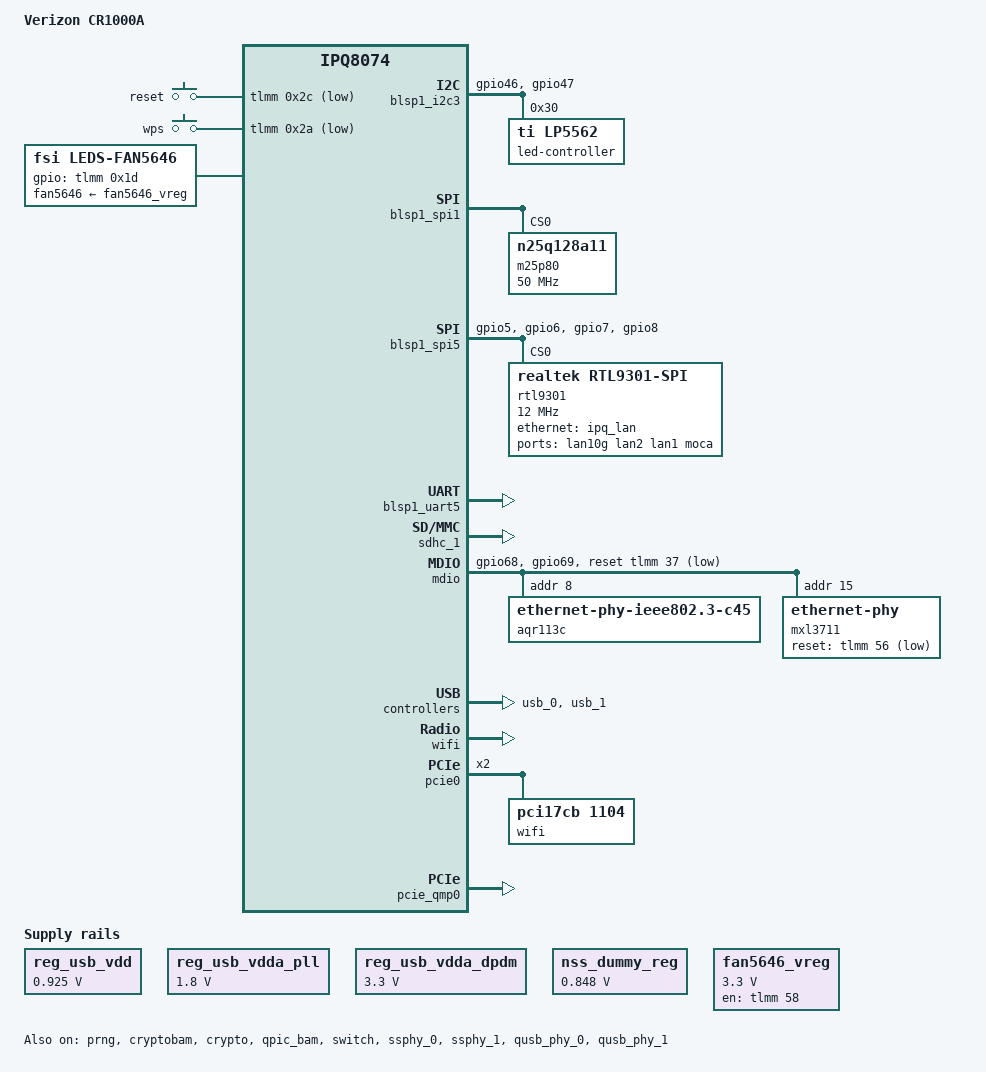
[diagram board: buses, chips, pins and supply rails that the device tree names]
/dts-v1/;

/*
 * Verizon CR1000A — full profile.
 *
 * IPQ8072 SoC with both ath11k radios (2.4/5 GHz on-SoC + 6 GHz QCN9074 over
 * PCIe), the IPQ-side AQR113C 10G "WAN" RJ45 (ESS port 6), and an SPI-attached RTL9303
 * switch (ESS port 5, 10GBase-R CPU link) that fans out the four LAN ports plus the
 * MXL3711 MoCA 2.5G link:
 *
 *   ESS port 6 -> AQR113C            : 10G "WAN" RJ45                 (label "wan")
 *   ESS port 5 -> RTL9303 port 27    : 10GBase-R CPU uplink to switch (label "lan")
 *     RTL9303 port 8  -> AQR113C #2  : 10G LAN RJ45            (label "lan10g")
 *     RTL9303 port 20 -> RTL8221B    : 2.5G LAN, casing "LAN2" (label "lan2")
 *     RTL9303 port 24 -> RTL8221B    : 2.5G LAN, casing "LAN1" (label "lan1")
 *     RTL9303 port 25 -> MXL3711     : MoCA 2.5G (HSGMII)      (label "moca")
 *
 * The RTL9303 (kmod-rtl930x-spi DSA driver) and the MXL3711 MoCA PHY
 * (kmod-phy-mxl371x) are out-of-tree; the front-panel LEDs use the in-tree
 * leds-fan5646 (1-wire white) and leds-cr1000a-rgb (i2c 0x30) drivers.
 */

#include "ipq8074.dtsi"
#include "ipq8074-hk-cpu.dtsi"
#include "ipq8074-ess.dtsi"
#include "pmp8074.dtsi"	/* pmp8074 PMIC on &spmi_bus: defines the s4 (vdd_s4) rail */

#include <dt-bindings/input/input.h>
#include <dt-bindings/gpio/gpio.h>
#include <dt-bindings/leds/common.h>

/ {
	model = "Verizon CR1000A";
	compatible = "verizon,cr1000a", "qcom,ipq8074";

	aliases {
		sdhc1 = &sdhc_1;
		serial0 = &blsp1_uart5;
		label-mac-device = &ipq_lan;
	};

	chosen {
		stdout-path = "serial0:115200n8";
	};

	keys {
		compatible = "gpio-keys";
		pinctrl-0 = <&button_pins>;
		pinctrl-names = "default";

		reset {
			debounce-interval = <0x3c>;
			gpios = <&tlmm 0x2c GPIO_ACTIVE_LOW>;
			label = "reset";
			linux,code = <KEY_RESTART>;
		};

		wps {
			debounce-interval = <0x3c>;
			gpios = <&tlmm 0x2a GPIO_ACTIVE_LOW>;
			label = "wps";
			linux,code = <KEY_WPS_BUTTON>;
		};
	};

	/*
	 * IPQ8074 has no software-controlled PMIC for the USB PHY rails; they
	 * are fixed always-on regulators on the board.
	 */
	reg_usb_vdd: regulator-usb-vdd {
		compatible = "regulator-fixed";
		regulator-name = "usb_vdd_0p9";
		regulator-min-microvolt = <925000>;
		regulator-max-microvolt = <925000>;
		regulator-always-on;
		regulator-boot-on;
	};

	reg_usb_vdda_pll: regulator-usb-vdda-pll {
		compatible = "regulator-fixed";
		regulator-name = "usb_vdda_1p8";
		regulator-min-microvolt = <1800000>;
		regulator-max-microvolt = <1800000>;
		regulator-always-on;
		regulator-boot-on;
	};

	reg_usb_vdda_dpdm: regulator-usb-vdda-dpdm {
		compatible = "regulator-fixed";
		regulator-name = "usb_vdda_3p3";
		regulator-min-microvolt = <3300000>;
		regulator-max-microvolt = <3300000>;
		regulator-always-on;
		regulator-boot-on;
	};
};

&soc {
	/*
	 * Front-panel LED power rail. GPIO58 (enable-active-high) gates the
	 * supply for BOTH the fan5646 white channel and the i2c 0x30 RGB chip.
	 * The OEM asserts GPIO58 in U-Boot (so its boot LED lights before
	 * Linux); model it as a regulator so Linux powers the rail at boot
	 * regardless of the bootloader.  regulator-always-on keeps the RGB
	 * powered independent of the fan5646 (white) brightness, since the
	 * fan5646 driver enables/disables this same supply on brightness changes.
	 */
	fan5646_vreg: fan5646_vreg {
		compatible = "regulator-fixed";
		regulator-name = "fan5646_vreg";
		regulator-min-microvolt = <3300000>;
		regulator-max-microvolt = <3300000>;
		gpio = <&tlmm 58 0>;
		enable-active-high;
		regulator-boot-on;
		regulator-always-on;
	};

	fan5646 {
		status = "okay";
		compatible = "fsi,leds-fan5646";
		linux-name = "white";
		gpios = <&tlmm 0x1d 0x2>; /* COMM GPIO, GPIOF_DIR_OUT | GPIOF_INIT_HIGH */
		full-current = <0xc0>; /* 20 mA (ISET=0xC0); brightness scales down from this cap */
		tsleep = <3>; /* short 1-wire phase (us); long phase = 3*tsleep (3/9us) */
		fan5646-supply = <&fan5646_vreg>;
		default-state = "on"; /* solid white at boot = unit powered (override via uci) */
	};
};

&blsp1_i2c3 {
	status = "okay";
	pinctrl-0 = <&i2c_2_pins>;
	pinctrl-names = "default";

	/*
	 * Front-panel status LED — TI LP5562 RGBW driver (the OEM "Router
	 * Status LED": white=boot, blue=ready, red=fault, etc.).  The R/G/B
	 * dies are driven here; the shared white die is driven by the fan5646
	 * 1-wire channel above.  The chip powers up with CHIP_EN clear, so it
	 * stays dark until this driver enables it.
	 */
	led-controller@30 {
		compatible = "ti,lp5562";
		reg = <0x30>;
		clock-mode = /bits/ 8 <1>; /* internal clock */
		#address-cells = <1>;
		#size-cells = <0>;

		/*
		 * Single RGB multicolor LED: one /sys/class/leds entry with a
		 * multi_intensity colour mix (needs the lp5562
		 * multicolor_brightness_fn from patch 0923; without it a
		 * multi-led node oopses the kernel).  The shared white die is
		 * driven by the fan5646 1-wire channel.  Channel reg = LP5562
		 * output: 0 = red (PWM 0x04), 1 = green (0x03), 2 = blue (0x02).
		 */
		multi-led@0 {
			#address-cells = <1>;
			#size-cells = <0>;
			reg = <0x0>;
			color = <LED_COLOR_ID_RGB>;
			function = LED_FUNCTION_STATUS;

			led@0 {
				reg = <0x0>;
				color = <LED_COLOR_ID_RED>;
				led-cur = /bits/ 8 <0xaf>;
				max-cur = /bits/ 8 <0xff>;
			};
			led@1 {
				reg = <0x1>;
				color = <LED_COLOR_ID_GREEN>;
				led-cur = /bits/ 8 <0xaf>;
				max-cur = /bits/ 8 <0xff>;
			};
			led@2 {
				reg = <0x2>;
				color = <LED_COLOR_ID_BLUE>;
				led-cur = /bits/ 8 <0xaf>;
				max-cur = /bits/ 8 <0xff>;
			};
		};

		/*
		 * Mono-colour view of the SAME three dies, registered in
		 * parallel with the multi-led above.  The multi-led keeps the
		 * OEM status-lamp semantics (one entry, multi_intensity colour
		 * mix); these three give each die its own /sys/class/leds entry
		 * so an ordinary netdev trigger can drive it -- which a
		 * multicolor classdev cannot do.
		 *
		 * Both views write the same LP5562 PWM registers (reg = the
		 * output index, identical to the multi-led sub-nodes), so they
		 * are ALTERNATIVES: whichever wrote last owns the die.  Drive
		 * one view or the other, not both.
		 *
		 * chan-name is what lp55xx uses verbatim for the classdev name
		 * (leds-lp55xx-common.c lp55xx_init_led); without it the name
		 * would fall back to "<client>:channel<N>".  Do NOT add a
		 * chan-name to the multi-led node -- that would rename the
		 * existing status LED.
		 *
		 * led-cur is mandatory here: lp55xx_init_led silently SKIPS a
		 * logical LED whose led_current is 0.
		 *
		 * These four children are also the limit: lp5562 max_channel is
		 * 4, and lp55xx registers one logical LED per child node.
		 */
		led@0 {
			reg = <0x0>;
			chan-name = "red:wan";
			color = <LED_COLOR_ID_RED>;
			function = LED_FUNCTION_WAN;
			led-cur = /bits/ 8 <0xaf>;
			max-cur = /bits/ 8 <0xff>;
		};

		led@1 {
			reg = <0x1>;
			chan-name = "green:lan";
			color = <LED_COLOR_ID_GREEN>;
			function = LED_FUNCTION_LAN;
			led-cur = /bits/ 8 <0xaf>;
			max-cur = /bits/ 8 <0xff>;
		};

		led@2 {
			reg = <0x2>;
			chan-name = "blue:wlan";
			color = <LED_COLOR_ID_BLUE>;
			function = LED_FUNCTION_WLAN;
			led-cur = /bits/ 8 <0xaf>;
			max-cur = /bits/ 8 <0xff>;
		};
	};
};

&blsp1_spi1 {
	status = "okay";

	m25p80@0 {
		#address-cells = <0x01>;
		#size-cells = <0x01>;
		reg = <0x00>;
		compatible = "n25q128a11", "jdec,spi-nor";
		linux,modalias = "m25p80", "n25q128a11";
		spi-max-frequency = <0x2faf080>;
		use-default-sizes;
	};
};

&blsp1_spi5 {
	pinctrl-0 = <&spi_4_pins>;
	pinctrl-names = "default";
	status = "okay";

	rtl9301: spi@0 {
		compatible = "realtek,rtl9301-spi";
		reg = <0x00>;
		spi-max-frequency = <12000000>;
		#address-cells = <1>;
		#size-cells = <0>;

		/*
		 * RTL9303 DSA switch — probed by kmod-rtl930x-dsa once the SPI
		 * regmap is live.  Port layout (from OEM init):
		 *   8    : XGS uplink to AQR113C #2 (10G LAN, label "lan10g")
		 *   20   : HSGMII 2.5G LAN, casing "LAN2" -> label "lan2" (RTL8221B)
		 *   24   : HSGMII 2.5G LAN, casing "LAN1" -> label "lan1" (RTL8221B)
		 *   25   : HSGMII uplink to MXL3711 (MoCA 2.5G)
		 *   27   : CPU port -> IPQ8072 ESS port 5 via 10GBase-R
		 *   28   : internal MIPS CPU bus (MIPS disabled on CR1000A; unused)
		 */
		switch@0 {
			compatible = "realtek,rtl9301-switch", "realtek,otto-switch",
				     "syscon";
			reg = <0>;

			ethernet-ports {
				#address-cells = <1>;
				#size-cells = <0>;

				port@8 {
					reg = <8>;
					label = "lan10g";
					pcs-handle = <&serdes3 0>;
					phy-handle = <&aqr_p8>;
					/*
					 * USXGMII (10G-SXGMII): the AQR113C
					 * rate-adapts 5G/2.5G/1G clients in-band,
					 * like the WAN AQR on the IPQ side -- no
					 * per-rate host re-provisioning needed.
					 */
					phy-mode = "usxgmii";
				};

				port@20 {
					reg = <20>;
					label = "lan2";
					pcs-handle = <&serdes5 0>;
					phy-handle = <&rtl8221b_p20>;
					phy-mode = "2500base-x";
				};

				port@24 {
					reg = <24>;
					label = "lan1";
					pcs-handle = <&serdes6 0>;
					phy-handle = <&rtl8221b_p24>;
					phy-mode = "2500base-x";
				};

				port@25 {
					reg = <25>;
					label = "moca";
					pcs-handle = <&serdes7 0>;
					phy-handle = <&mxl3711>;
					/*
					 * The MXL3711 MoCA MAC speaks HSGMII (2.5G
					 * SGMII), distinct from 2500BASE-X at the PCS
					 * layer.  Both ends read this single standard
					 * phy-mode: the switch brings its SerDes up in
					 * HISGMII, the MXL PHY driver sets its MAC PCS
					 * to match.  Matches the OEM (SDS7 = HISGMII).
					 */
					phy-mode = "hsgmii";
				};

				port@27 {
					reg = <27>;
					ethernet = <&ipq_lan>;
					pcs-handle = <&serdes9 0>;
					phy-mode = "10gbase-r";
					/*
					 * Boot straight into the 802.1Q-based
					 * tagger: the PPE can parse (and RSS-
					 * hash) the ctag, which the inline OTTO
					 * tag defeats, and the ppe-flowtable
					 * hardware NAT offload depends on it.
					 */
					dsa-tag-protocol = "rtl_otto-8021q";

					fixed-link {
						speed = <10000>;
						full-duplex;
					};
				};
			};

			/*
			 * RTL9303 SMI master, driven by the (backported) mainline
			 * realtek,rtl9301-mdio controller over the switch syscon
			 * regmap that kmod-rtl930x-spi registers.  PHYs sit at
			 * their strapped MDIO addresses on the physical SMI buses;
			 * the controller derives the switch-port mapping from the
			 * phy-handles in ethernet-ports.
			 *
			 * The RTL8221B PHYs are managed in Clause-22 mode so the
			 * realtek driver reaches their vendor (paged) registers;
			 * the AQR113C bus runs Clause-45.
			 */
			mdio-controller {
				compatible = "realtek,rtl9301-mdio", "realtek,otto-mdio";
				#address-cells = <1>;
				#size-cells = <0>;

				mdio-bus@0 {
					reg = <0>;
					#address-cells = <1>;
					#size-cells = <0>;

					rtl8221b_p20: ethernet-phy@7 {
						reg = <7>;
						/* switch SDS5 is fixed 2500BASE-X */
						realtek,host-2500base-x-fixed;
					};
				};

				mdio-bus@1 {
					reg = <1>;
					#address-cells = <1>;
					#size-cells = <0>;

					rtl8221b_p24: ethernet-phy@3 {
						reg = <3>;
						/* switch SDS6 is fixed 2500BASE-X */
						realtek,host-2500base-x-fixed;
					};
				};

				mdio-bus@2 {
					reg = <2>;
					#address-cells = <1>;
					#size-cells = <0>;

					/*
					 * AQR113C (10G LAN, switch port 8).  The
					 * PHY runs its provisioned USXGMII system
					 * interface and rate-adapts the copper
					 * in-band; the switch lane follows via
					 * phylink (port@8 phy-mode "usxgmii").
					 */
					aqr_p8: ethernet-phy@0 {
						compatible = "ethernet-phy-ieee802.3-c45";
						reg = <0>;
					};
				};
			};

			/*
			 * SerDes register access as a Clause-45 MDIO bus
			 * (mdio-realtek-otto-serdes), over the same switch
			 * syscon regmap.  The PCS bring-up reads/writes the
			 * SerDes pages through this bus.
			 */
			mdio-serdes {
				compatible = "realtek,rtl9301-serdes-mdio",
					     "realtek,otto-serdes-mdio";
			};

			/*
			 * The RTL-Otto PCS drives the SerDes lanes; ports bind
			 * to them via pcs-handle and phylink configures each
			 * lane on link bring-up.
			 *
			 * Only the 10G AQR lane (SDS3) tolerates the loopback
			 * RX calibration on this board; on the other lanes it
			 * fails and wedges RX, so they opt out.
			 */
			pcs {
				compatible = "realtek,rtl9301-pcs",
					     "realtek,otto-pcs";
				#address-cells = <1>;
				#size-cells = <0>;

				serdes3: serdes@3 {
					reg = <3>;
					#pcs-cells = <1>;
				};
				serdes5: serdes@5 {
					reg = <5>;
					#pcs-cells = <1>;
					realtek,skip-rx-calibration;
					/*
					 * The RTL8221B host-side SerDes runs
					 * clause-37 AN on its fixed 2500BASE-X
					 * interface; keep the lane's AN enabled
					 * (fiber page 0x02 BMCR bit 12) or the
					 * two ends never sync and the linked
					 * port forwards nothing.
					 */
					realtek,sds-regs-override =
						<0x02 0x00 0x1000 0x1000>;
				};
				serdes6: serdes@6 {
					reg = <6>;
					#pcs-cells = <1>;
					realtek,skip-rx-calibration;
					realtek,sds-regs-override =
						<0x02 0x00 0x1000 0x1000>;
				};
				serdes7: serdes@7 {
					reg = <7>;
					#pcs-cells = <1>;
					realtek,skip-rx-calibration;
					/*
					 * The MXL3711 MoCA MAC is a fixed link
					 * partner with no auto-negotiating PHY,
					 * so the lane never asserts its own RX
					 * signal-detect: force the analog RX
					 * enable (page 0x00 reg 0x02 bit 8) or
					 * the lane syncs but never receives.
					 */
					realtek,sds-regs-override =
						<0x00 0x02 0x0100 0x0100>;
				};
				serdes9: serdes@9 {
					reg = <9>;
					#pcs-cells = <1>;
					realtek,skip-rx-calibration;
					/*
					 * CPU uplink to the IPQ8072 ESS port 5 MAC
					 * (10GBASE-R fiber on both ends):
					 * select the 10G fiber media standard
					 * (FIB page 0x02 reg 0x00: bit 13 set,
					 * bit 6 clear) — the lane links without
					 * it but never passes data.
					 */
					realtek,sds-regs-override =
						<0x02 0x00 0x2040 0x2000>;
				};
			};
		};
	};
};

&blsp1_uart5 {
	status = "okay";
};

&prng {
	status = "okay";
};

&cryptobam {
	status = "okay";
};

&crypto {
	status = "okay";
};

&edma {
	status = "okay";
};

&qpic_bam {
	status = "okay";
};

&sdhc_1 {
	status = "okay";
};

&tlmm {
	mdio_pins: mdio-pins {
		mdc {
			pins = "gpio68";
			function = "mdc";
			drive-strength = <8>;
			bias-pull-up;
		};

		mdio {
			pins = "gpio69";
			function = "mdio";
			drive-strength = <8>;
			bias-pull-up;
		};
	};

	spi_4_pins: spi-4-pins {
		pins = "gpio5", "gpio6", "gpio7", "gpio8";
		function = "blsp4_spi0";
		drive-strength = <8>;
		bias-disable;
	};

	i2c_2_pins: i2c-2-pins {
		pins = "gpio46", "gpio47";
		function = "blsp2_i2c";
		drive-strength = <8>;
		bias-disable;
	};

	button_pins: button_pins {
		wps_button {
			pins = "gpio42";
			function = "gpio";
			drive-strength = <0x08>;
			bias-pull-up;
		};

		reset_button {
			pins = "gpio44";
			function = "gpio";
			drive-strength = <0x08>;
			bias-pull-up;
		};
	};
};

&mdio {
	status = "okay";
	pinctrl-0 = <&mdio_pins>;
	pinctrl-names = "default";
	reset-gpios = <&tlmm 37 GPIO_ACTIVE_LOW>;

	/* AQR113C on the physical "WAN" RJ45, reached on the SoC MDIO bus. */
	aqr113c: ethernet-phy@8 {
		compatible = "ethernet-phy-ieee802.3-c45";
		reg = <0x08>;
	};

	/*
	 * MXL3711 MoCA SoC on the SoC MDIO bus.  The MoCA<->switch link mode
	 * comes from the RTL9303 port@25 phy-mode ("hsgmii").  SoC hardware
	 * reset is TLMM GPIO 56, active-low; owned by the MDIO core and pulsed
	 * via phy_device_reset() with the OEM 5ms/50ms timing.
	 */
	mxl3711: ethernet-phy@f {
		reg = <0x0f>;
		reset-gpios = <&tlmm 56 GPIO_ACTIVE_LOW>;
		reset-assert-us = <5000>;
		reset-deassert-us = <50000>;
	};
};

&switch {
	status = "okay";

	pinctrl-names = "default";

	ports {
		#address-cells = <1>;
		#size-cells = <0>;

		/* CPU port, internal link to the EDMA */
		port@0 {
			reg = <0>;
			ethernet = <&edma>;
			phy-mode = "internal";

			fixed-link {
				speed = <1000>;
				full-duplex;
			};
		};

		/*
		 * Port 5 -> RTL9303 CPU port 27, 10GBase-R over UNIPHY1.
		 * No PHY on this link: it is switch-to-switch, so it is a
		 * fixed link and the RTL9303 hangs its own DSA tree off this
		 * user port (see the rtl9301 node's port@27 conduit).
		 */
		ipq_lan: port@5 {
			reg = <5>;
			label = "lan";
			phy-mode = "10gbase-r";
			pcs-handle = <&uniphy1 0>;

			fixed-link {
				speed = <10000>;
				full-duplex;
			};
		};

		/* Port 6 -> AQR113C, the physical 10G "WAN" RJ45 */
		port@6 {
			reg = <6>;
			label = "wan";
			phy-handle = <&aqr113c>;
			phy-mode = "usxgmii";
			managed = "in-band-status";
			pcs-handle = <&uniphy2 0>;
		};
	};
};

&ssphy_0 {
	status = "okay";
	vdda-phy-supply = <&reg_usb_vdd>;
	vdda-pll-supply = <&reg_usb_vdda_pll>;
};

&ssphy_1 {
	status = "okay";
	vdda-phy-supply = <&reg_usb_vdd>;
	vdda-pll-supply = <&reg_usb_vdda_pll>;
};

&qusb_phy_0 {
	status = "okay";
	vdd-supply = <&reg_usb_vdd>;
	vdda-pll-supply = <&reg_usb_vdda_pll>;
	vdda-phy-dpdm-supply = <&reg_usb_vdda_dpdm>;
};

&qusb_phy_1 {
	status = "okay";
	vdd-supply = <&reg_usb_vdd>;
	vdda-pll-supply = <&reg_usb_vdda_pll>;
	vdda-phy-dpdm-supply = <&reg_usb_vdda_dpdm>;
};

&usb_0 {
	status = "okay";
};

&usb_1 {
	status = "okay";
};

&wifi {
	status = "okay";
	qcom,ath11k-calibration-variant = "Verizon-CR1000A";
};

&pcie0 {
	status = "okay";
	num-lanes = <2>;
	perst-gpios = <&tlmm 61 GPIO_ACTIVE_LOW>;

	pcie@0 {
		wifi@0,0 {
			status = "okay";

			/* ath11k has no DT compatible for PCI cards */
			compatible = "pci17cb,1104";
			reg = <0x00010000 0 0 0 0>;

			qcom,ath11k-calibration-variant = "Verizon-CR1000A";
		};
	};
};

&pcie_qmp0 {
	status = "okay";
};

/* PCIe1 carries no device on the CR1000A. */
&pcie1 {
	status = "disabled";
};

&pcie_qmp1 {
	status = "disabled";
};

/*
 * NSS subsystem (qca-nss-drv): bring up the 2x UBI32 cores via the real GPL
 * driver. Nodes ported from qosmio ipq8074-nss.dtsi (the known-working 6.12
 * reference). nss_region = the bootloader-reserved 0x40000000 16MB window;
 * npu/mx rails are the dummy always-on reg (qosmio proves the cores boot with
 * it - no CPR corner needed). The old cr1000a,nss-fw-loader node is removed:
 * qca-nss-drv now owns the ubi0/ubi1 clocks.
 */
/ {
	reserved-memory {
		#address-cells = <2>;
		#size-cells = <2>;
		ranges;

		nss_region: nss@40000000 {
			reg = <0x0 0x40000000 0x0 0x01000000>;
			no-map;
		};
	};

	nss_dummy_reg: nss-regulator {
		compatible = "regulator-fixed";
		regulator-name = "nss-reg";
		regulator-min-microvolt = <848000>;
		regulator-max-microvolt = <848000>;
		regulator-always-on;
		regulator-boot-on;
	};
};

&soc {
	nss-common {
		compatible = "qcom,nss-common";
		reg = <0x01868010 0x1000>;
		reg-names = "nss-misc-reset";
		memory-region = <&nss_region>;
	};

	nss0: nss@40000000 {
		compatible = "qcom,nss";
		interrupts = <GIC_SPI 377 IRQ_TYPE_EDGE_RISING>,
			     <GIC_SPI 378 IRQ_TYPE_EDGE_RISING>,
			     <GIC_SPI 379 IRQ_TYPE_EDGE_RISING>,
			     <GIC_SPI 380 IRQ_TYPE_EDGE_RISING>,
			     <GIC_SPI 381 IRQ_TYPE_EDGE_RISING>,
			     <GIC_SPI 382 IRQ_TYPE_EDGE_RISING>,
			     <GIC_SPI 383 IRQ_TYPE_EDGE_RISING>,
			     <GIC_SPI 384 IRQ_TYPE_EDGE_RISING>,
			     <GIC_SPI 385 IRQ_TYPE_EDGE_RISING>,
			     <GIC_SPI 386 IRQ_TYPE_EDGE_RISING>;
		reg = <0x39000000 0x1000>,
		      <0x38000000 0x30000>,
		      <0x0b111000 0x1000>;
		reg-names = "nphys", "vphys", "qgic-phys";
		clocks = <&gcc GCC_NSS_NOC_CLK>,
			 <&gcc GCC_NSS_PTP_REF_CLK>,
			 <&gcc GCC_NSS_CSR_CLK>,
			 <&gcc GCC_NSS_CFG_CLK>,
			 <&gcc GCC_NSS_IMEM_CLK>,
			 <&gcc GCC_NSSNOC_QOSGEN_REF_CLK>,
			 <&gcc GCC_MEM_NOC_NSS_AXI_CLK>,
			 <&gcc GCC_NSSNOC_SNOC_CLK>,
			 <&gcc GCC_NSSNOC_TIMEOUT_REF_CLK>,
			 <&gcc GCC_NSS_CE_AXI_CLK>,
			 <&gcc GCC_NSS_CE_APB_CLK>,
			 <&gcc GCC_NSSNOC_CE_AXI_CLK>,
			 <&gcc GCC_NSSNOC_CE_APB_CLK>,
			 <&gcc GCC_NSSNOC_UBI0_AHB_CLK>,
			 <&gcc GCC_UBI0_CORE_CLK>,
			 <&gcc GCC_UBI0_AHB_CLK>,
			 <&gcc GCC_UBI0_AXI_CLK>,
			 <&gcc GCC_UBI0_MPT_CLK>,
			 <&gcc GCC_UBI0_NC_AXI_CLK>;
		clock-names = "nss-noc-clk", "nss-ptp-ref-clk", "nss-csr-clk",
			      "nss-cfg-clk", "nss-imem-clk",
			      "nss-nssnoc-qosgen-ref-clk",
			      "nss-mem-noc-nss-axi-clk", "nss-nssnoc-snoc-clk",
			      "nss-nssnoc-timeout-ref-clk", "nss-ce-axi-clk",
			      "nss-ce-apb-clk", "nss-nssnoc-ce-axi-clk",
			      "nss-nssnoc-ce-apb-clk", "nss-nssnoc-ahb-clk",
			      "nss-core-clk", "nss-ahb-clk", "nss-axi-clk",
			      "nss-mpt-clk", "nss-nc-axi-clk";
		qcom,id = <0>;
		qcom,num-queue = <4>;
		qcom,num-irq = <10>;
		qcom,num-pri = <4>;
		qcom,load-addr = <0x40000000>;
		qcom,low-frequency = <187200000>;
		qcom,mid-frequency = <748800000>;
		qcom,max-frequency = <1689600000>;
		qcom,bridge-enabled;
		qcom,ipv4-enabled;
		qcom,ipv6-enabled;
		qcom,ppe-enabled;
		mx-supply = <&nss_dummy_reg>;
		npu-supply = <&nss_dummy_reg>;
		vdd_s4-supply = <&s4>;
	};

	nss1: nss@40800000 {
		compatible = "qcom,nss";
		interrupts = <GIC_SPI 390 IRQ_TYPE_EDGE_RISING>,
			     <GIC_SPI 391 IRQ_TYPE_EDGE_RISING>,
			     <GIC_SPI 392 IRQ_TYPE_EDGE_RISING>,
			     <GIC_SPI 393 IRQ_TYPE_EDGE_RISING>,
			     <GIC_SPI 394 IRQ_TYPE_EDGE_RISING>,
			     <GIC_SPI 395 IRQ_TYPE_EDGE_RISING>,
			     <GIC_SPI 396 IRQ_TYPE_EDGE_RISING>,
			     <GIC_SPI 397 IRQ_TYPE_EDGE_RISING>,
			     <GIC_SPI 398 IRQ_TYPE_EDGE_RISING>;
		reg = <0x39400000 0x1000>,
		      <0x38030000 0x30000>,
		      <0x0b111000 0x1000>;
		reg-names = "nphys", "vphys", "qgic-phys";
		clocks = <&gcc GCC_NSS_NOC_CLK>,
			 <&gcc GCC_NSS_PTP_REF_CLK>,
			 <&gcc GCC_NSS_CSR_CLK>,
			 <&gcc GCC_NSS_CFG_CLK>,
			 <&gcc GCC_NSS_IMEM_CLK>,
			 <&gcc GCC_NSSNOC_QOSGEN_REF_CLK>,
			 <&gcc GCC_MEM_NOC_NSS_AXI_CLK>,
			 <&gcc GCC_NSSNOC_SNOC_CLK>,
			 <&gcc GCC_NSSNOC_TIMEOUT_REF_CLK>,
			 <&gcc GCC_NSS_CE_AXI_CLK>,
			 <&gcc GCC_NSS_CE_APB_CLK>,
			 <&gcc GCC_NSSNOC_CE_AXI_CLK>,
			 <&gcc GCC_NSSNOC_CE_APB_CLK>,
			 <&gcc GCC_NSSNOC_UBI1_AHB_CLK>,
			 <&gcc GCC_UBI1_CORE_CLK>,
			 <&gcc GCC_UBI1_AHB_CLK>,
			 <&gcc GCC_UBI1_AXI_CLK>,
			 <&gcc GCC_UBI1_MPT_CLK>,
			 <&gcc GCC_UBI1_NC_AXI_CLK>;
		clock-names = "nss-noc-clk", "nss-ptp-ref-clk", "nss-csr-clk",
			      "nss-cfg-clk", "nss-imem-clk",
			      "nss-nssnoc-qosgen-ref-clk",
			      "nss-mem-noc-nss-axi-clk", "nss-nssnoc-snoc-clk",
			      "nss-nssnoc-timeout-ref-clk", "nss-ce-axi-clk",
			      "nss-ce-apb-clk", "nss-nssnoc-ce-axi-clk",
			      "nss-nssnoc-ce-apb-clk", "nss-nssnoc-ahb-clk",
			      "nss-core-clk", "nss-ahb-clk", "nss-axi-clk",
			      "nss-mpt-clk", "nss-nc-axi-clk";
		qcom,id = <1>;
		qcom,num-queue = <4>;
		qcom,num-irq = <9>;
		qcom,num-pri = <4>;
		qcom,load-addr = <0x40800000>;
		mx-supply = <&nss_dummy_reg>;
		npu-supply = <&nss_dummy_reg>;
		vdd_s4-supply = <&s4>;
	};

};
